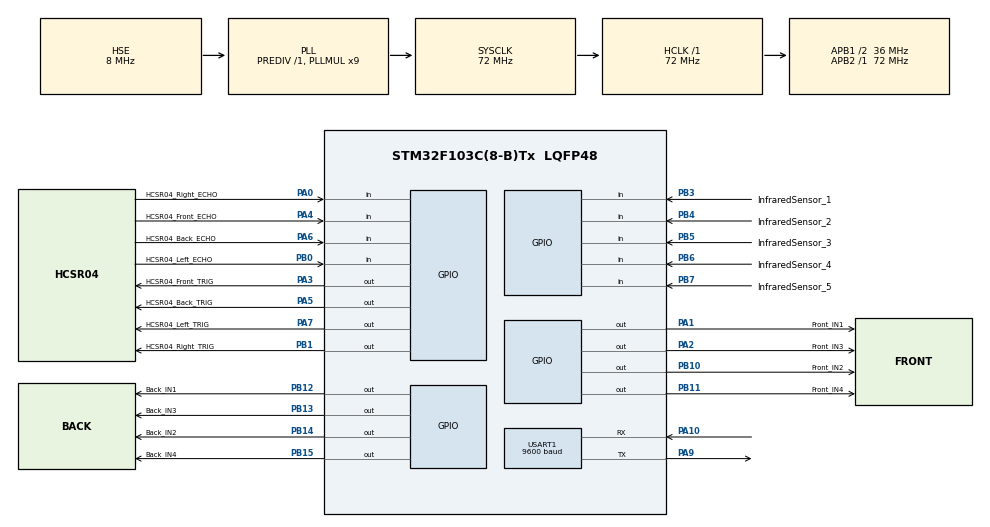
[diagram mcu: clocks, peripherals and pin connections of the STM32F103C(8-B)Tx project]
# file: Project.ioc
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Mcu.Family=STM32F1
Mcu.Name=STM32F103C(8-B)Tx
Mcu.Package=LQFP48
NVIC.PriorityGroup=NVIC_PRIORITYGROUP_4
PA0-WKUP.GPIO_Label=HCSR04_Right_ECHO
PA0-WKUP.Signal=GPIO_Input
PA1.GPIO_Label=Front_IN1
PA1.GPIO_PuPd=GPIO_PULLDOWN
PA1.GPIO_Speed=GPIO_SPEED_FREQ_HIGH
PA1.Signal=GPIO_Output
PA10.Mode=Asynchronous
PA10.Signal=USART1_RX
PA13.Mode=Serial_Wire
PA13.Signal=SYS_JTMS-SWDIO
PA14.Mode=Serial_Wire
PA14.Signal=SYS_JTCK-SWCLK
PA2.GPIO_Label=Front_IN3
PA2.GPIO_PuPd=GPIO_PULLDOWN
PA2.GPIO_Speed=GPIO_SPEED_FREQ_HIGH
PA2.Signal=GPIO_Output
PA3.GPIO_Label=HCSR04_Front_TRIG
PA3.GPIO_PuPd=GPIO_PULLDOWN
PA3.GPIO_Speed=GPIO_SPEED_FREQ_HIGH
PA3.Signal=GPIO_Output
PA4.GPIO_Label=HCSR04_Front_ECHO
PA4.Signal=GPIO_Input
PA5.GPIO_Label=HCSR04_Back_TRIG
PA5.GPIO_PuPd=GPIO_PULLDOWN
PA5.GPIO_Speed=GPIO_SPEED_FREQ_HIGH
PA5.Signal=GPIO_Output
PA6.GPIO_Label=HCSR04_Back_ECHO
PA6.Signal=GPIO_Input
PA7.GPIO_Label=HCSR04_Left_TRIG
PA7.GPIO_PuPd=GPIO_PULLDOWN
PA7.GPIO_Speed=GPIO_SPEED_FREQ_HIGH
PA7.Signal=GPIO_Output
PA9.Mode=Asynchronous
PA9.Signal=USART1_TX
PB0.GPIO_Label=HCSR04_Left_ECHO
PB0.Signal=GPIO_Input
PB1.GPIO_Label=HCSR04_Right_TRIG
PB1.GPIO_PuPd=GPIO_PULLDOWN
PB1.GPIO_Speed=GPIO_SPEED_FREQ_HIGH
PB1.Signal=GPIO_Output
PB10.GPIO_Label=Front_IN2
PB10.GPIO_PuPd=GPIO_PULLDOWN
PB10.GPIO_Speed=GPIO_SPEED_FREQ_HIGH
PB10.Signal=GPIO_Output
PB11.GPIO_Label=Front_IN4
PB11.GPIO_PuPd=GPIO_PULLDOWN
PB11.GPIO_Speed=GPIO_SPEED_FREQ_HIGH
PB11.Signal=GPIO_Output
PB12.GPIO_Label=Back_IN1
PB12.GPIO_PuPd=GPIO_PULLDOWN
PB12.GPIO_Speed=GPIO_SPEED_FREQ_HIGH
PB12.Signal=GPIO_Output
PB13.GPIO_Label=Back_IN3
PB13.GPIO_PuPd=GPIO_PULLDOWN
PB13.GPIO_Speed=GPIO_SPEED_FREQ_HIGH
PB13.Signal=GPIO_Output
PB14.GPIO_Label=Back_IN2
PB14.GPIO_PuPd=GPIO_PULLDOWN
PB14.GPIO_Speed=GPIO_SPEED_FREQ_HIGH
PB14.Signal=GPIO_Output
PB15.GPIO_Label=Back_IN4
PB15.GPIO_PuPd=GPIO_PULLDOWN
PB15.GPIO_Speed=GPIO_SPEED_FREQ_HIGH
PB15.Signal=GPIO_Output
PB3.GPIO_Label=InfraredSensor_1
PB3.Signal=GPIO_Input
PB4.GPIO_Label=InfraredSensor_2
PB4.Signal=GPIO_Input
PB5.GPIO_Label=InfraredSensor_3
PB5.Signal=GPIO_Input
PB6.GPIO_Label=InfraredSensor_4
PB6.Signal=GPIO_Input
PB7.GPIO_Label=InfraredSensor_5
PB7.Signal=GPIO_Input
PC14-OSC32_IN.Mode=LSE-External-Oscillator
PC14-OSC32_IN.Signal=RCC_OSC32_IN
PC15-OSC32_OUT.Mode=LSE-External-Oscillator
PC15-OSC32_OUT.Signal=RCC_OSC32_OUT
PD0-OSC_IN.Mode=HSE-External-Oscillator
PD0-OSC_IN.Signal=RCC_OSC_IN
PD1-OSC_OUT.Mode=HSE-External-Oscillator
PD1-OSC_OUT.Signal=RCC_OSC_OUT
ProjectManager.HeapSize=0x200
ProjectManager.StackSize=0x400
ProjectManager.TargetToolchain=MDK-ARM V5.32
RCC.AHBFreq_Value=72000000
RCC.APB1CLKDivider=RCC_HCLK_DIV2
RCC.APB1Freq_Value=36000000
RCC.APB1TimFreq_Value=72000000
RCC.APB2Freq_Value=72000000
RCC.APB2TimFreq_Value=72000000
RCC.HCLKFreq_Value=72000000
RCC.PLLMUL=RCC_PLL_MUL9
RCC.PLLSourceVirtual=RCC_PLLSOURCE_HSE
RCC.SYSCLKFreq_VALUE=72000000
RCC.SYSCLKSource=RCC_SYSCLKSOURCE_PLLCLK
RCC.USBFreq_Value=72000000
TIM1.Prescaler=71
USART1.BaudRate=9600
USART1.VirtualMode=VM_ASYNC
VP_TIM1_VS_ClockSourceINT.Mode=Internal
board=custom

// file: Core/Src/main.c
/* USER CODE BEGIN Header */
/**
 ******************************************************************************
 * @file           : main.c
 * @brief          : Main program body
 ******************************************************************************
 * @attention
 *
 * Copyright (c) 2023 STMicroelectronics.
 * All rights reserved.
 *
 * This software is licensed under terms that can be found in the LICENSE file
 * in the root directory of this software component.
 * If no LICENSE file comes with this software, it is provided AS-IS.
 *
 ******************************************************************************
 */
/* USER CODE END Header */
#include "main.h"
#include "tim.h"
#include "usart.h"
#include "gpio.h"

/* USER CODE BEGIN Includes */
#include "hcsr04.h"
/* USER CODE END Includes */

void SystemClock_Config(void);

int main(void)
{
  /* USER CODE BEGIN 1 */
  float frontDistanceValue = 0;
  float backDistanceValue = 0;
  float leftDistanceValue = 0;
  float rightDistanceValue = 0;
  uint8_t distanceLimitValue = 10;
  /* USER CODE END 1 */

  /* MCU Configuration--------------------------------------------------------*/

  /* Reset of all peripherals, Initializes the Flash interface and the Systick. */
  HAL_Init();

  /* Configure the system clock */
  SystemClock_Config();

  /* Initialize all configured peripherals */
  MX_GPIO_Init();
  MX_USART1_UART_Init();
  MX_TIM1_Init();

  /* Infinite loop */
  /* USER CODE BEGIN WHILE */
  while (1)
  {
    frontDistanceValue = HCSR04_Front_GetDistance_Single();
    backDistanceValue = HCSR04_Back_GetDistance_Single();
    leftDistanceValue = HCSR04_Left_GetDistance_Single();
    rightDistanceValue = HCSR04_Right_GetDistance_Single();

    if (frontDistanceValue <= distanceLimitValue && backDistanceValue <= distanceLimitValue && leftDistanceValue <= distanceLimitValue && rightDistanceValue <= distanceLimitValue)
    {
      HAL_GPIO_WritePin(Front_IN1_GPIO_Port, Front_IN1_Pin, GPIO_PIN_RESET);
      HAL_GPIO_WritePin(Front_IN2_GPIO_Port, Front_IN2_Pin, GPIO_PIN_RESET);
      HAL_GPIO_WritePin(Front_IN3_GPIO_Port, Front_IN3_Pin, GPIO_PIN_RESET);
      HAL_GPIO_WritePin(Front_IN4_GPIO_Port, Front_IN4_Pin, GPIO_PIN_RESET);
      HAL_GPIO_WritePin(Back_IN1_GPIO_Port, Back_IN1_Pin, GPIO_PIN_RESET);
      HAL_GPIO_WritePin(Back_IN2_GPIO_Port, Back_IN2_Pin, GPIO_PIN_RESET);
      HAL_GPIO_WritePin(Back_IN3_GPIO_Port, Back_IN3_Pin, GPIO_PIN_RESET);
      HAL_GPIO_WritePin(Back_IN4_GPIO_Port, Back_IN4_Pin, GPIO_PIN_RESET);
    }
    else
    {
      if (HAL_GPIO_ReadPin(InfraredSensor_3_GPIO_Port, InfraredSensor_3_Pin) == GPIO_PIN_SET)
      {
        HAL_GPIO_WritePin(Front_IN1_GPIO_Port, Front_IN1_Pin, GPIO_PIN_SET);
        HAL_GPIO_WritePin(Front_IN2_GPIO_Port, Front_IN2_Pin, GPIO_PIN_RESET);

        HAL_GPIO_WritePin(Front_IN3_GPIO_Port, Front_IN3_Pin, GPIO_PIN_SET);
        HAL_GPIO_WritePin(Front_IN4_GPIO_Port, Front_IN4_Pin, GPIO_PIN_RESET);

        HAL_GPIO_WritePin(Back_IN1_GPIO_Port, Back_IN1_Pin, GPIO_PIN_RESET);
        HAL_GPIO_WritePin(Back_IN2_GPIO_Port, Back_IN2_Pin, GPIO_PIN_SET);

        HAL_GPIO_WritePin(Back_IN3_GPIO_Port, Back_IN3_Pin, GPIO_PIN_RESET);
        HAL_GPIO_WritePin(Back_IN4_GPIO_Port, Back_IN4_Pin, GPIO_PIN_SET);
      }
      else if (HAL_GPIO_ReadPin(InfraredSensor_1_GPIO_Port, InfraredSensor_1_Pin) == GPIO_PIN_SET || HAL_GPIO_ReadPin(InfraredSensor_2_GPIO_Port, InfraredSensor_2_Pin) == GPIO_PIN_SET)
      {
        HAL_GPIO_WritePin(Front_IN1_GPIO_Port, Front_IN1_Pin, GPIO_PIN_RESET);
        HAL_GPIO_WritePin(Front_IN2_GPIO_Port, Front_IN2_Pin, GPIO_PIN_SET);

        HAL_GPIO_WritePin(Front_IN3_GPIO_Port, Front_IN3_Pin, GPIO_PIN_SET);
        HAL_GPIO_WritePin(Front_IN4_GPIO_Port, Front_IN4_Pin, GPIO_PIN_RESET);

        HAL_GPIO_WritePin(Back_IN1_GPIO_Port, Back_IN1_Pin, GPIO_PIN_RESET);
        HAL_GPIO_WritePin(Back_IN2_GPIO_Port, Back_IN2_Pin, GPIO_PIN_SET);

        HAL_GPIO_WritePin(Back_IN3_GPIO_Port, Back_IN3_Pin, GPIO_PIN_SET);
        HAL_GPIO_WritePin(Back_IN4_GPIO_Port, Back_IN4_Pin, GPIO_PIN_RESET);
      }
      else if (HAL_GPIO_ReadPin(InfraredSensor_4_GPIO_Port, InfraredSensor_4_Pin) == GPIO_PIN_SET || HAL_GPIO_ReadPin(InfraredSensor_5_GPIO_Port, InfraredSensor_5_Pin) == GPIO_PIN_SET)
      {
        HAL_GPIO_WritePin(Front_IN1_GPIO_Port, Front_IN1_Pin, GPIO_PIN_SET);
        HAL_GPIO_WritePin(Front_IN2_GPIO_Port, Front_IN2_Pin, GPIO_PIN_RESET);

        HAL_GPIO_WritePin(Front_IN3_GPIO_Port, Front_IN3_Pin, GPIO_PIN_RESET);
        HAL_GPIO_WritePin(Front_IN4_GPIO_Port, Front_IN4_Pin, GPIO_PIN_SET);

        HAL_GPIO_WritePin(Back_IN1_GPIO_Port, Back_IN1_Pin, GPIO_PIN_SET);
        HAL_GPIO_WritePin(Back_IN2_GPIO_Port, Back_IN2_Pin, GPIO_PIN_RESET);

        HAL_GPIO_WritePin(Back_IN3_GPIO_Port, Back_IN3_Pin, GPIO_PIN_RESET);
        HAL_GPIO_WritePin(Back_IN4_GPIO_Port, Back_IN4_Pin, GPIO_PIN_SET);
      }
      else
      {
        HAL_GPIO_WritePin(Front_IN1_GPIO_Port, Front_IN1_Pin, GPIO_PIN_RESET);
        HAL_GPIO_WritePin(Front_IN2_GPIO_Port, Front_IN2_Pin, GPIO_PIN_RESET);

        HAL_GPIO_WritePin(Front_IN3_GPIO_Port, Front_IN3_Pin, GPIO_PIN_RESET);
        HAL_GPIO_WritePin(Front_IN4_GPIO_Port, Front_IN4_Pin, GPIO_PIN_RESET);

        HAL_GPIO_WritePin(Back_IN1_GPIO_Port, Back_IN1_Pin, GPIO_PIN_RESET);
        HAL_GPIO_WritePin(Back_IN2_GPIO_Port, Back_IN2_Pin, GPIO_PIN_RESET);

        HAL_GPIO_WritePin(Back_IN3_GPIO_Port, Back_IN3_Pin, GPIO_PIN_RESET);
        HAL_GPIO_WritePin(Back_IN4_GPIO_Port, Back_IN4_Pin, GPIO_PIN_RESET);
      }
      /* USER CODE END WHILE */
    }
  }
}

void SystemClock_Config(void)
{
  RCC_OscInitTypeDef RCC_OscInitStruct = {0};
  RCC_ClkInitTypeDef RCC_ClkInitStruct = {0};

  /** Initializes the RCC Oscillators according to the specified parameters
   * in the RCC_OscInitTypeDef structure.
   */
  RCC_OscInitStruct.OscillatorType = RCC_OSCILLATORTYPE_HSE;
  RCC_OscInitStruct.HSEState = RCC_HSE_ON;
  RCC_OscInitStruct.HSEPredivValue = RCC_HSE_PREDIV_DIV1;
  RCC_OscInitStruct.HSIState = RCC_HSI_ON;
  RCC_OscInitStruct.PLL.PLLState = RCC_PLL_ON;
  RCC_OscInitStruct.PLL.PLLSource = RCC_PLLSOURCE_HSE;
  RCC_OscInitStruct.PLL.PLLMUL = RCC_PLL_MUL9;
  if (HAL_RCC_OscConfig(&RCC_OscInitStruct) != HAL_OK)
  {
    Error_Handler();
  }

  /** Initializes the CPU, AHB and APB buses clocks
   */
  RCC_ClkInitStruct.ClockType = RCC_CLOCKTYPE_HCLK | RCC_CLOCKTYPE_SYSCLK | RCC_CLOCKTYPE_PCLK1 | RCC_CLOCKTYPE_PCLK2;
  RCC_ClkInitStruct.SYSCLKSource = RCC_SYSCLKSOURCE_PLLCLK;
  RCC_ClkInitStruct.AHBCLKDivider = RCC_SYSCLK_DIV1;
  RCC_ClkInitStruct.APB1CLKDivider = RCC_HCLK_DIV2;
  RCC_ClkInitStruct.APB2CLKDivider = RCC_HCLK_DIV1;

  if (HAL_RCC_ClockConfig(&RCC_ClkInitStruct, FLASH_LATENCY_2) != HAL_OK)
  {
    Error_Handler();
  }
}

void Error_Handler(void)
{
  __disable_irq();
  while (1)
  {
  }
}
